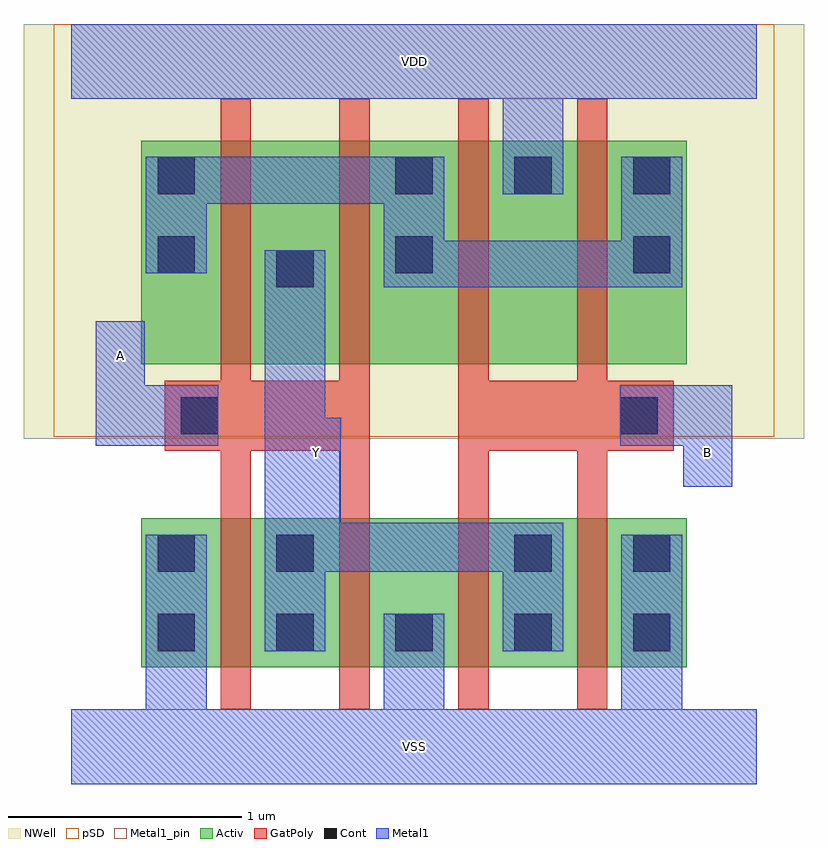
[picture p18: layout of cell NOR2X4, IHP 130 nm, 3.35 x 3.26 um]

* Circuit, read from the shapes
.subckt NOR2X4 A B VDD VSS Y
XM1 Y A VSS VSUBS sg13_lv_nmos w=0.64u l=0.13u m=2
XM2 Y B VSS VSUBS sg13_lv_nmos w=0.64u l=0.13u m=2
XM3 Y A n1 n2 sg13_lv_pmos w=0.96u l=0.13u m=2
XM4 VDD B n1 n2 sg13_lv_pmos w=0.96u l=0.13u m=2
.ends

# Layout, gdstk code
import gdstk
lib = gdstk.Library(unit=1e-6, precision=1e-09)
def R(c, l, rs):  # rectangles x0, y0, x1, y1
    for r in rs: c.add(gdstk.rectangle(r[:2], r[2:], *l))
def A(c, l, x, y, w, h, nx, ny, dx, dy):  # array of equal rectangles
    R(c, l, [(x+i*dx, y+j*dy, x+i*dx+w, y+j*dy+h) for i in range(nx) for j in range(ny)])
def P(c, l, *ps):  # polygons
    for p in ps: c.add(gdstk.Polygon(p, *l))
Activ = (1, 0)
GatPoly = (5, 0)
Cont = (6, 0)
Metal1 = (8, 0)
Metal1_pin = (8, 2)
pSD = (14, 0)
NWell = (31, 0)

nor2x4 = lib.new_cell('NOR2X4')
R(nor2x4, Activ, [(0.3,0.34,2.64,0.98), (0.3,1.64,2.64,2.6)])
P(nor2x4, GatPoly, [(1.66,0.16),(1.66,2.78),(1.79,2.78),(1.79,1.57),(2.17,1.57),(2.17,2.78),(2.3,2.78),(2.3,1.57),(2.585,1.57),(2.585,1.27),(2.3,1.27),(2.3,0.16),(2.17,0.16),(2.17,1.27),(1.79,1.27),(1.79,0.16)],
  [(0.64,0.16),(0.64,1.27),(0.4,1.27),(0.4,1.57),(0.64,1.57),(0.64,2.78),(0.77,2.78),(0.77,1.57),(1.15,1.57),(1.15,2.78),(1.28,2.78),(1.28,0.16),(1.15,0.16),(1.15,1.27),(0.77,1.27),(0.77,0.16)])
A(nor2x4, Cont, 0.37, 0.41, 0.16, 0.16, 5, 1, 0.51, 0)
A(nor2x4, Cont, 0.37, 2.03, 0.16, 0.16, 3, 1, 1.02, 0)
A(nor2x4, Cont, 1.39, 2.37, 0.16, 0.16, 3, 1, 0.51, 0)
R(nor2x4, Cont, [(0.37,0.75,0.53,0.91), (0.88,0.75,1.04,0.91), (1.9,0.75,2.06,0.91), (2.41,0.75,2.57,0.91), (0.47,1.34,0.63,1.5), (2.355,1.34,2.515,1.5), (0.88,1.97,1.04,2.13), (0.37,2.37,0.53,2.53)])
P(nor2x4, Metal1, [(0.105,1.29),(0.105,1.825),(0.315,1.825),(0.315,1.55),(0.63,1.55),(0.63,1.29)],
  [(2.625,1.115),(2.625,1.29),(2.355,1.29),(2.355,1.55),(2.835,1.55),(2.835,1.115)],
  [(1.85,2.37),(1.85,2.78),(0,2.78),(0,3.1),(2.94,3.1),(2.94,2.78),(2.11,2.78),(2.11,2.37)],
  [(0.83,0.41),(0.83,2.13),(1.09,2.13),(1.09,1.41),(1.155,1.41),(1.155,0.96),(2.11,0.96),(2.11,0.41),(1.85,0.41),(1.85,0.75),(1.09,0.75),(1.09,0.41)],
  [(0,-0.16),(0,0.16),(0.32,0.16),(0.32,0.91),(0.58,0.91),(0.58,0.16),(1.34,0.16),(1.34,0.57),(1.6,0.57),(1.6,0.16),(2.36,0.16),(2.36,0.91),(2.62,0.91),(2.62,0.16),(2.94,0.16),(2.94,-0.16)],
  [(1.34,1.97),(1.34,2.33),(0.58,2.33),(0.58,2.03),(0.32,2.03),(0.32,2.53),(1.6,2.53),(1.6,2.17),(2.36,2.17),(2.36,2.53),(2.62,2.53),(2.62,1.97)])
R(nor2x4, Metal1_pin, [(0,-0.16,2.94,0.16), (0,-0.16,2.94,0.16), (0.83,0.75,1.155,1.41), (2.625,1.115,2.835,1.55), (0.105,1.29,0.315,1.825), (0,2.78,2.94,3.1), (0,2.78,2.94,3.1)])
P(nor2x4, Metal1_pin, [(2.625,1.115),(2.625,1.29),(2.355,1.29),(2.355,1.55),(2.835,1.55),(2.835,1.115)],
  [(0.83,0.41),(0.83,2.13),(1.09,2.13),(1.09,1.41),(1.155,1.41),(1.155,0.96),(2.11,0.96),(2.11,0.41),(1.85,0.41),(1.85,0.75),(1.09,0.75),(1.09,0.41)],
  [(0.105,1.29),(0.105,1.825),(0.315,1.825),(0.315,1.55),(0.63,1.55),(0.63,1.29)])
R(nor2x4, pSD, [(-0.075,1.33,3.015,3.1)])
R(nor2x4, NWell, [(-0.205,1.32,3.145,3.1)])
nor2x4.add(gdstk.Label('VSS', (1.47,0), layer=8, texttype=25))
nor2x4.add(gdstk.Label('VDD', (1.47,2.94), layer=8, texttype=25))
nor2x4.add(gdstk.Label('A', (0.21,1.68), layer=8, texttype=25))
nor2x4.add(gdstk.Label('Y', (1.05,1.26), layer=8, texttype=25))
nor2x4.add(gdstk.Label('B', (2.73,1.26), layer=8, texttype=25))

lib.write_gds('NOR2X4.gds')
